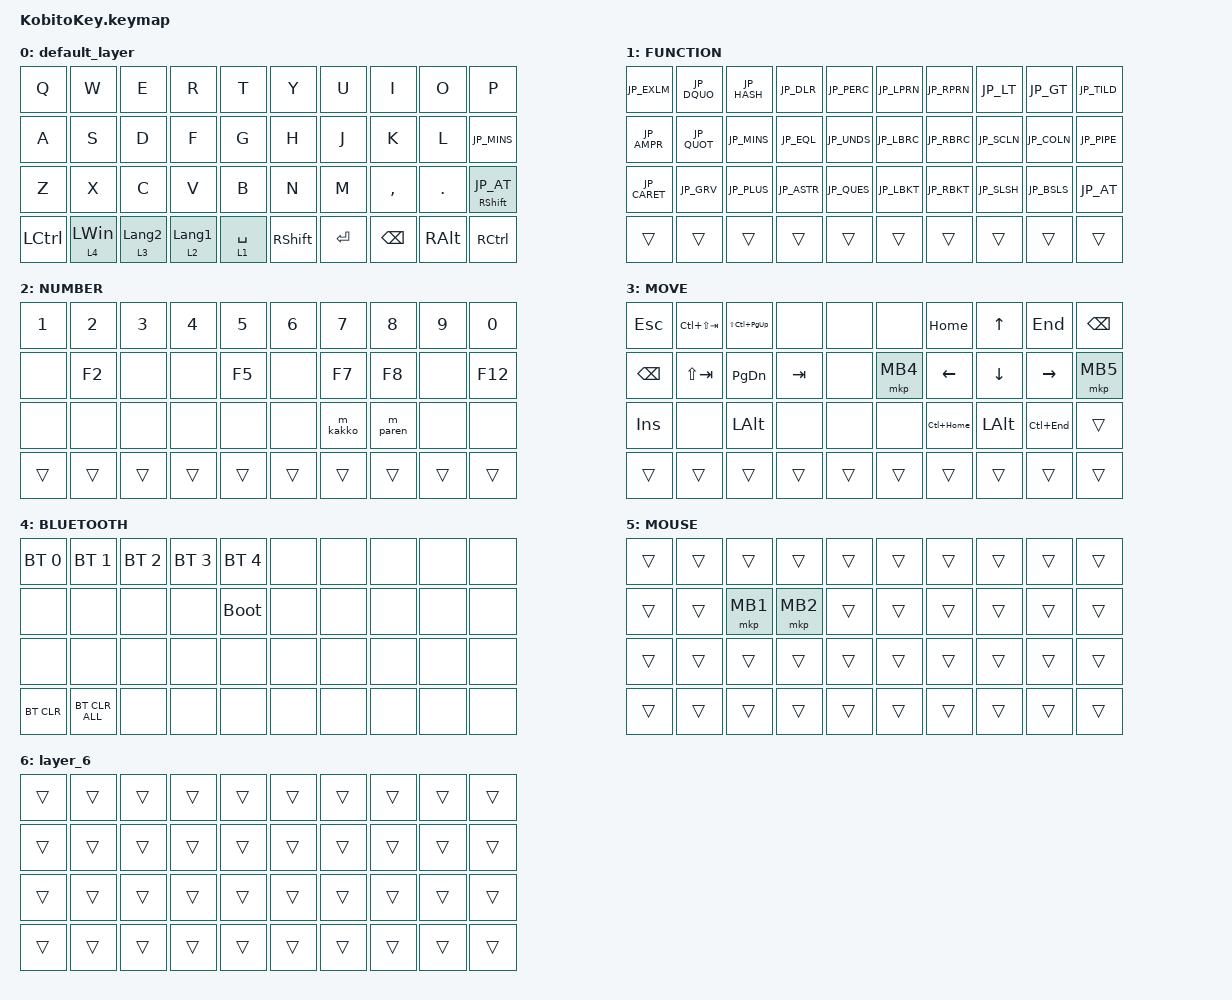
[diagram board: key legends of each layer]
#include <input/processors.dtsi>
#include <behaviors.dtsi>
#include <dt-bindings/zmk/bt.h>
#include <dt-bindings/zmk/keys.h>
#include <dt-bindings/zmk/pointing.h>
#include "locale/keys_ja.h"

/ {
    combos {
        compatible = "zmk,combos";

        combo_eisu {
            timeout-ms = <50>;
            key-positions = <12 13>;
            bindings = <&kp LANG2>;
        };

        combo_kana {
            timeout-ms = <50>;
            key-positions = <16 17>;
            bindings = <&kp LANG1>;
        };

        combo_esc {
            timeout-ms = <50>;
            key-positions = <0 1>;
            bindings = <&kp ESC>;
        };

        combo_tab {
            timeout-ms = <50>;
            key-positions = <10 11>;
            bindings = <&kp TAB>;
        };

        combo_alt+backspace {
            bindings = <&kp RA(BACKSPACE)>;
            key-positions = <18 19>;
        };

        combo_screenshot {
            bindings = <&kp LG(LS(S))>;
            key-positions = <8 9>;
        };
    };

    macros {
        m_kakko: m_kakko {
            compatible = "zmk,behavior-macro";
            #binding-cells = <0>;
            wait-ms = <30>;
            tap-ms = <30>;
            bindings = <&kp JP_LBKT &kp JP_RBKT &kp LEFT>;
        };

        m_paren: m_paren {
            compatible = "zmk,behavior-macro";
            #binding-cells = <0>;
            wait-ms = <30>;
            tap-ms = <30>;
            bindings = <&kp JP_LPRN &kp JP_RPRN &kp LEFT>;
        };
    };

    keymap {
        compatible = "zmk,keymap";

        default_layer {
            bindings = <
&kp Q      &kp W           &kp E             &kp R             &kp T        &kp Y            &kp U      &kp I          &kp O          &kp P
&kp A      &kp S           &kp D             &kp F             &kp G        &kp H            &kp J      &kp K          &kp L          &kp JP_MINS
&kp Z      &kp X           &kp C             &kp V             &kp B        &kp N            &kp M      &kp COMMA      &kp DOT        &mt RIGHT_SHIFT JP_AT
&kp LCTRL  &lt 4 LEFT_WIN  &lt 3 LANGUAGE_2  &lt 2 LANGUAGE_1  &lt 1 SPACE  &kp RIGHT_SHIFT  &kp ENTER  &kp BACKSPACE  &kp RIGHT_ALT  &kp RCTRL
            >;
        };

        layer1 {
            label = "FUNCTION";
            bindings = <
&kp JP_EXLM   &kp JP_DQUO  &kp JP_HASH  &kp JP_DLR   &kp JP_PERC  &kp JP_LPRN  &kp JP_RPRN  &kp JP_LT    &kp JP_GT    &kp JP_TILD
&kp JP_AMPR   &kp JP_QUOT  &kp JP_MINS  &kp JP_EQL   &kp JP_UNDS  &kp JP_LBRC  &kp JP_RBRC  &kp JP_SCLN  &kp JP_COLN  &kp JP_PIPE
&kp JP_CARET  &kp JP_GRV   &kp JP_PLUS  &kp JP_ASTR  &kp JP_QUES  &kp JP_LBKT  &kp JP_RBKT  &kp JP_SLSH  &kp JP_BSLS  &kp JP_AT
&trans        &trans       &trans       &trans       &trans       &trans       &trans       &trans       &trans       &trans
            >;
        };

        layer2 {
            bindings = <
&kp NUMBER_1  &kp NUMBER_2  &kp NUMBER_3  &kp NUMBER_4  &kp N5  &kp NUMBER_6  &kp N7    &kp N8    &kp N9  &kp N0
&none         &kp F2        &none         &none         &kp F5  &none         &kp F7    &kp F8    &none   &kp F12
&none         &none         &none         &none         &none   &none         &m_kakko  &m_paren  &none   &none
&trans        &trans        &trans        &trans        &trans  &trans        &trans    &trans    &trans  &trans
            >;

            label = "NUMBER";
        };

        layer3 {
            bindings = <
&kp ESCAPE     &kp LC(LS(TAB))  &kp LS(LC(PAGE_UP))  &none    &none   &none     &kp HOME        &kp UP_ARROW    &kp END          &kp BACKSPACE
&kp BACKSPACE  &kp LS(TAB)      &kp PAGE_DOWN        &kp TAB  &none   &mkp MB4  &kp LEFT_ARROW  &kp DOWN_ARROW  &kp RIGHT_ARROW  &mkp MB5
&kp INS        &none            &kp LALT             &none    &none   &none     &kp LC(HOME)    &kp LEFT_ALT    &kp LC(END)      &trans
&trans         &trans           &trans               &trans   &trans  &trans    &trans          &trans          &trans           &trans
            >;

            label = "MOVE";
        };

        layer4 {
            bindings = <
&bt BT_SEL 0  &bt BT_SEL 1    &bt BT_SEL 2  &bt BT_SEL 3  &bt BT_SEL 4  &none  &none  &none  &none  &none
&none         &none           &none         &none         &bootloader   &none  &none  &none  &none  &none
&none         &none           &none         &none         &none         &none  &none  &none  &none  &none
&bt BT_CLR    &bt BT_CLR_ALL  &none         &none         &none         &none  &none  &none  &none  &none
            >;

            label = "BLUETOOTH";
        };

        layer5 {
            bindings = <
&trans  &trans  &trans    &trans    &trans  &trans  &trans  &trans  &trans  &trans
&trans  &trans  &mkp MB1  &mkp MB2  &trans  &trans  &trans  &trans  &trans  &trans
&trans  &trans  &trans    &trans    &trans  &trans  &trans  &trans  &trans  &trans
&trans  &trans  &trans    &trans    &trans  &trans  &trans  &trans  &trans  &trans
            >;

            label = "MOUSE";
        };

        layer_6 {
            bindings = <
&trans  &trans  &trans  &trans  &trans  &trans  &trans  &trans  &trans  &trans
&trans  &trans  &trans  &trans  &trans  &trans  &trans  &trans  &trans  &trans
&trans  &trans  &trans  &trans  &trans  &trans  &trans  &trans  &trans  &trans
&trans  &trans  &trans  &trans  &trans  &trans  &trans  &trans  &trans  &trans
            >;
        };
    };
};
